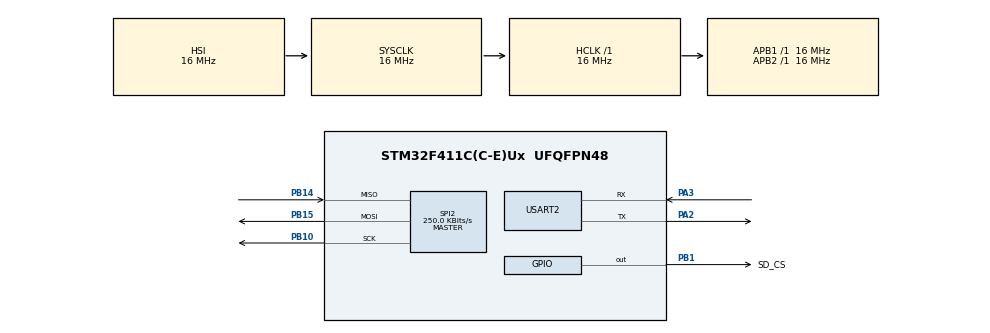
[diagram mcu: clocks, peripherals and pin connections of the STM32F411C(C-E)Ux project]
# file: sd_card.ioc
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Mcu.Family=STM32F4
Mcu.Name=STM32F411C(C-E)Ux
Mcu.Package=UFQFPN48
NVIC.PriorityGroup=NVIC_PRIORITYGROUP_4
PA13.Mode=Serial_Wire
PA13.Signal=SYS_JTMS-SWDIO
PA14.Mode=Serial_Wire
PA14.Signal=SYS_JTCK-SWCLK
PA2.Mode=Asynchronous
PA2.Signal=USART2_TX
PA3.Mode=Asynchronous
PA3.Signal=USART2_RX
PB1.GPIO_Label=SD_CS
PB1.GPIO_PuPd=GPIO_PULLUP
PB1.Signal=GPIO_Output
PB10.Mode=Full_Duplex_Master
PB10.Signal=SPI2_SCK
PB14.Mode=Full_Duplex_Master
PB14.Signal=SPI2_MISO
PB15.Mode=Full_Duplex_Master
PB15.Signal=SPI2_MOSI
ProjectManager.HeapSize=0x200
ProjectManager.StackSize=0x400
ProjectManager.TargetToolchain=STM32CubeIDE
RCC.AHBFreq_Value=16000000
RCC.APB1Freq_Value=16000000
RCC.APB2Freq_Value=16000000
RCC.CortexFreq_Value=16000000
RCC.HSE_VALUE=25000000
RCC.HSI_VALUE=16000000
RCC.LSE_VALUE=32768
RCC.SYSCLKFreq_VALUE=16000000
RCC.VCOOutputFreq_Value=192000000
SPI2.BaudRatePrescaler=SPI_BAUDRATEPRESCALER_64
SPI2.CalculateBaudRate=250.0 KBits/s
SPI2.Direction=SPI_DIRECTION_2LINES
SPI2.Mode=SPI_MODE_MASTER
SPI2.VirtualType=VM_MASTER
USART2.VirtualMode=VM_ASYNC
VP_FATFS_VS_Generic.Mode=User_defined
board=custom

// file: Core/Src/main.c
/* USER CODE BEGIN Header */
/**
  ******************************************************************************
  * @file           : main.c
  * @brief          : Main program body
  ******************************************************************************
  * @attention
  *
  * Copyright (c) 2025 STMicroelectronics.
  * All rights reserved.
  *
  * This software is licensed under terms that can be found in the LICENSE file
  * in the root directory of this software component.
  * If no LICENSE file comes with this software, it is provided AS-IS.
  *
  ******************************************************************************
  */
/* USER CODE END Header */
#include "main.h"
#include "fatfs.h"
#include "spi.h"
#include "usart.h"
#include "gpio.h"

/* USER CODE BEGIN Includes */
#include <stdio.h>
#include <string.h>
#include <stdarg.h> //for va_list var arg functions
#include "sd.h"
/* USER CODE END Includes */

void SystemClock_Config(void);

/* USER CODE BEGIN 0 */
void myprintf(const char *fmt, ...) {
  static char buffer[256];
  va_list args;
  va_start(args, fmt);
  vsnprintf(buffer, sizeof(buffer), fmt, args);
  va_end(args);

  int len = strlen(buffer);
  HAL_UART_Transmit(&huart2, (uint8_t*)buffer, len, -1);

}
int i = 0;
FATFS FatFs; 	//Fatfs handle
FIL fil; 		//File handle
FRESULT fres; //Result after operations
BYTE readBuf[30];
BYTE writeBuf[30];
UINT bytesWrote;
/* USER CODE END 0 */

int main(void)
{

  /* MCU Configuration--------------------------------------------------------*/

  /* Reset of all peripherals, Initializes the Flash interface and the Systick. */
  HAL_Init();

  /* Configure the system clock */
  SystemClock_Config();

  /* Initialize all configured peripherals */
  MX_GPIO_Init();
  MX_SPI2_Init();
  MX_FATFS_Init();
  MX_USART2_UART_Init();
  /* USER CODE BEGIN 2 */
    //some variables for FatFs

    SD_init();

    //Open the file system
  //f_mount(&USERFatFS, USERPath, 0)
    /*fres = f_mount(&FatFs, "", 1); //1=mount now
  	while(fres != FR_OK){
        f_sync(&fil);
        f_close(&fil);
  		f_mount(NULL, "", 0);
  		fres = f_mount(&FatFs, "", 1); //1=mount now
  		myprintf("f_mount error (%i)\r\n", fres);
  		HAL_Delay(100);
    }

    //Now let's try and write a file "write.txt"
    fres = f_open(&fil, "write.txt", FA_WRITE | FA_CREATE_ALWAYS);
    if(fres == FR_OK) {
  	myprintf("I was able to open 'write.txt' for writing\r\n");
    } else {
  	myprintf("f_open error (%i)\r\n", fres);
    }

    //Copy in a string
    snprintf((char*)readBuf, sizeof(readBuf), "Start work with SD card!\r\n");
    UINT bytesWrote;
    fres = f_write(&fil, readBuf, strlen((char*)readBuf), &bytesWrote);
    if(fres != FR_OK) {
    	myprintf("f_write error (%i)\r\n");
    }

    //Be a tidy kiwi - don't forget to close your file!
    f_close(&fil);
*/

  /* USER CODE END 2 */

  /* Infinite loop */
  /* USER CODE BEGIN WHILE */
  while (1)
  {
	  for (; i < 18; i++) {
		  snprintf((char*)writeBuf, sizeof(writeBuf), "File number %d is made!\r\n", i);
		  SD_write();

		    /*fres = f_open(&fil, "write.txt", FA_WRITE | FA_OPEN_APPEND);
		    if (fres != FR_OK) {
		        myprintf("f_open error (%i)\r\n", fres);
		        continue;
		    }

		    snprintf((char*)writeBuf, sizeof(writeBuf), "File number %d is made!\r\n", i);
		    fres = f_write(&fil, writeBuf, strlen((char*)writeBuf), &bytesWrote);
		    if (fres != FR_OK) {
		        myprintf("f_write error (%i)\r\n", fres);
		        f_close(&fil);
		        continue;
		    }

		    myprintf("Wrote %i bytes to 'write.txt'!\r\n", bytesWrote);
		    f_close(&fil);
		    HAL_Delay(10);
*/
	          if(i == 17)
	        	  f_mount(NULL, "", 0);

	      }

    /* USER CODE END WHILE */

  }
}

void SystemClock_Config(void)
{
  RCC_OscInitTypeDef RCC_OscInitStruct = {0};
  RCC_ClkInitTypeDef RCC_ClkInitStruct = {0};

  /** Configure the main internal regulator output voltage
  */
  __HAL_RCC_PWR_CLK_ENABLE();
  __HAL_PWR_VOLTAGESCALING_CONFIG(PWR_REGULATOR_VOLTAGE_SCALE1);

  /** Initializes the RCC Oscillators according to the specified parameters
  * in the RCC_OscInitTypeDef structure.
  */
  RCC_OscInitStruct.OscillatorType = RCC_OSCILLATORTYPE_HSI;
  RCC_OscInitStruct.HSIState = RCC_HSI_ON;
  RCC_OscInitStruct.HSICalibrationValue = RCC_HSICALIBRATION_DEFAULT;
  RCC_OscInitStruct.PLL.PLLState = RCC_PLL_NONE;
  if (HAL_RCC_OscConfig(&RCC_OscInitStruct) != HAL_OK)
  {
    Error_Handler();
  }

  /** Initializes the CPU, AHB and APB buses clocks
  */
  RCC_ClkInitStruct.ClockType = RCC_CLOCKTYPE_HCLK|RCC_CLOCKTYPE_SYSCLK
                              |RCC_CLOCKTYPE_PCLK1|RCC_CLOCKTYPE_PCLK2;
  RCC_ClkInitStruct.SYSCLKSource = RCC_SYSCLKSOURCE_HSI;
  RCC_ClkInitStruct.AHBCLKDivider = RCC_SYSCLK_DIV1;
  RCC_ClkInitStruct.APB1CLKDivider = RCC_HCLK_DIV1;
  RCC_ClkInitStruct.APB2CLKDivider = RCC_HCLK_DIV1;

  if (HAL_RCC_ClockConfig(&RCC_ClkInitStruct, FLASH_LATENCY_0) != HAL_OK)
  {
    Error_Handler();
  }
}

void Error_Handler(void)
{
  __disable_irq();
  while (1)
  {
  }
}
